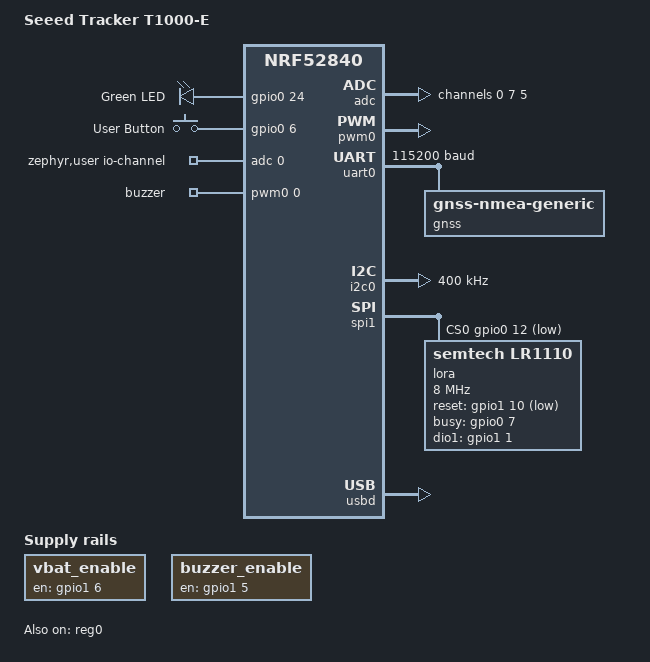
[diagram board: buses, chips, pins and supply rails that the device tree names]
/*
 * Seeed Tracker T1000-E - nRF52840 + LR1110
 * Copyright (c) 2025 ZephCore
 *
 * SPDX-License-Identifier: MIT
 *
 * Hardware:
 * - nRF52840 SoC with BLE
 * - LR1110 LoRa radio (TCXO 1.6V, DIO as RF switch)
 * - Airoha AG3335 GNSS module on UART (PAIR protocol)
 * - QMA6100P accelerometer (I2C)
 * - NTC temperature sensor (ADC)
 * - Light sensor (ADC)
 * - Buzzer with enable
 * - Battery voltage ADC
 */

/dts-v1/;
#include <nordic/nrf52840_qiaa.dtsi>
#include <nordic/nrf52840_partition.dtsi>
#include <zephyr/dt-bindings/adc/nrf-saadc.h>
#include <zephyr/dt-bindings/input/input-event-codes.h>
#include <zephyr/dt-bindings/pwm/pwm.h>
#include "t1000_e_nrf52840-pinctrl.dtsi"

/* Delete default partitions from nrf52840_partition.dtsi */
/delete-node/ &boot_partition;
/delete-node/ &slot0_partition;
/delete-node/ &slot1_partition;
/delete-node/ &storage_partition;

/ {
	model = "Seeed Tracker T1000-E";
	compatible = "seeed,t1000-e";

	chosen {
		zephyr,code-partition = &code_partition;
		zephyr,console = &cdc_acm_uart;
		zephyr,shell-uart = &cdc_acm_uart;
	};

	leds {
		compatible = "gpio-leds";

		led_green: led_0 {
			gpios = <&gpio0 24 GPIO_ACTIVE_HIGH>;
			label = "Green LED";
		};
	};

	buttons: buttons {
		compatible = "gpio-keys";

		user_button: button_0 {
			/* T1000-E button: active HIGH (pressed=VCC), no internal pull
			 * (external pull-down on board). Arduino uses INPUT, not INPUT_PULLUP. */
			gpios = <&gpio0 6 GPIO_ACTIVE_HIGH>;
			zephyr,code = <INPUT_KEY_0>;
			label = "User Button";
		};
	};

	/* Input filter: user button long-press detection (1000ms)
	 * T1000-E has only one button - long-press = enter/execute
	 * Short-press → KEY_A, Long-press → KEY_F (safe, no system side-effects) */
	user_btn_longpress {
		compatible = "zephyr,input-longpress";
		input = <&buttons>;
		input-codes = <INPUT_KEY_0>;
		short-codes = <INPUT_KEY_A>;
		long-codes = <INPUT_KEY_F>;
		long-delay-ms = <1000>;
	};

	/* Input filter: user button multi-tap detection
	 * 1 tap  (400ms wait) → KEY_1 = page next (no-op without display)
	 * 2 taps (400ms wait) → KEY_B = LED heartbeat toggle
	 * 3 taps (400ms wait) → KEY_D = buzzer mute toggle
	 * 4 taps (400ms wait) → KEY_C = GPS on/off
	 * 5 taps (immediate)  → KEY_E = flood advert */
	user_btn_multitap {
		compatible = "zephcore,input-multi-tap";
		/* No 'input' phandle — listen to ALL devices.
		 * KEY_A is emitted by the longpress pseudo-device,
		 * not by &buttons, so we must not filter by device. */
		input-codes = <INPUT_KEY_A>;
		tap-codes = <INPUT_KEY_1 INPUT_KEY_B INPUT_KEY_D INPUT_KEY_C INPUT_KEY_E>;
		tap-delay-ms = <400>;
	};

	/* Sensor power enable - P1.06 (PIN_3V3_EN in Arduino)
	 * Powers: Battery ADC voltage divider, temperature sensor, light sensor
	 * Must be enabled before reading battery voltage or sensor ADCs
	 */
	vbat_enable: sensor_power: sensor-power {
		compatible = "regulator-fixed";
		regulator-name = "sensor-power";
		enable-gpios = <&gpio1 6 GPIO_ACTIVE_HIGH>;
		/* NOT regulator-boot-on - enabled on-demand in ZephyrBoard.cpp */
	};

	/* Battery ADC channel reference for ZephyrBoard */
	zephyr,user {
		io-channels = <&adc 0>;
		vbat-mv-multiplier = <7236>;  /* 2:1 divider, 3.6V ref; +0.5% for nRF SAADC gain error */
	};

	/* Buzzer on PWM0 channel 0 (P0.25) with enable on P1.05 */
	pwmbuzzer {
		compatible = "pwm-leds";
		buzzer: buzzer {
			pwms = <&pwm0 0 PWM_MSEC(20) PWM_POLARITY_NORMAL>;
		};
	};

	/* Buzzer enable pin - controls power to buzzer amplifier */
	buzzer_enable: buzzer-enable {
		compatible = "regulator-fixed";
		regulator-name = "buzzer-enable";
		enable-gpios = <&gpio1 5 GPIO_ACTIVE_HIGH>;
		/* NOT regulator-boot-on - controlled by buzzer driver */
	};

	aliases {
		led0 = &led_green;
		sw0 = &user_button;
		watchdog0 = &wdt0;
		buzzer = &buzzer;
		buzzer-enable = &buzzer_enable;
		lora0 = &lora;
	};
};

&reg0 {
	status = "okay";
};

&reg1 {
	regulator-initial-mode = <NRF5X_REG_MODE_DCDC>;
};

&adc {
	status = "okay";
	#address-cells = <1>;
	#size-cells = <0>;

	/* Battery voltage on P0.02 (AIN0) - 2x voltage divider */
	channel@0 {
		reg = <0>;
		zephyr,gain = "ADC_GAIN_1_6";
		zephyr,reference = "ADC_REF_INTERNAL";
		zephyr,acquisition-time = <ADC_ACQ_TIME(ADC_ACQ_TIME_MICROSECONDS, 10)>;
		zephyr,input-positive = <NRF_SAADC_AIN0>;
		zephyr,resolution = <12>;
	};

	/* Temperature sensor NTC on P0.31 (AIN7) */
	channel@7 {
		reg = <7>;
		zephyr,gain = "ADC_GAIN_1_6";
		zephyr,reference = "ADC_REF_INTERNAL";
		zephyr,acquisition-time = <ADC_ACQ_TIME(ADC_ACQ_TIME_MICROSECONDS, 10)>;
		zephyr,input-positive = <NRF_SAADC_AIN7>;
		zephyr,resolution = <12>;
	};

	/* Light sensor on P0.29 (AIN5) */
	channel@5 {
		reg = <5>;
		zephyr,gain = "ADC_GAIN_1_6";
		zephyr,reference = "ADC_REF_INTERNAL";
		zephyr,acquisition-time = <ADC_ACQ_TIME(ADC_ACQ_TIME_MICROSECONDS, 10)>;
		zephyr,input-positive = <NRF_SAADC_AIN5>;
		zephyr,resolution = <12>;
	};
};

&uicr {
	nfct-pins-as-gpios;
};

&gpiote {
	status = "okay";
};

&gpio0 {
	status = "okay";
};

&gpio1 {
	status = "okay";
	/* NOTE: buzzer-off gpio-hog REMOVED - buzzer enable is now managed by
	 * the regulator-fixed node (buzzer_enable). When buzzer is quiet,
	 * the regulator is disabled keeping the pin low. */
};

/* PWM0 for buzzer */
&pwm0 {
	status = "okay";
	pinctrl-0 = <&pwm0_default>;
	pinctrl-1 = <&pwm0_sleep>;
	pinctrl-names = "default", "sleep";
};

/* Airoha AG3335 GNSS on UART0 - 115200 baud
 *
 * Using gnss-nmea-generic (passive NMEA listener) instead of quectel,lc76g:
 * - Arduino reference code just listens for NMEA, never sends PAIR commands
 * - AG3335 outputs NMEA autonomously at factory defaults
 * - Eliminates 10s+ blocking resume_script timeout on PAIR command
 * - Trade-off: no gnss_set_enabled_systems() / gnss_set_fix_rate() API
 *   (AG3335 defaults are fine: GPS+GLONASS+Galileo+BeiDou, 1Hz) */
&uart0 {
	compatible = "nordic,nrf-uarte";
	status = "okay";
	current-speed = <115200>;
	pinctrl-0 = <&uart0_default>;
	pinctrl-1 = <&uart0_sleep>;
	pinctrl-names = "default", "sleep";

	gnss: gnss {
		compatible = "gnss-nmea-generic";
		/* Defer driver init — AG3335 needs GPIO power-up
		 * (GPS_EN, GPS_VRTC_EN, GPS_RESET) before NMEA output.
		 * ZephyrGPSManager handles power-up then calls device_init(). */
		zephyr,deferred-init;
	};
};

/* I2C0 for QMA6100P accelerometer + external sensors */
&i2c0 {
	compatible = "nordic,nrf-twim";
	status = "okay";
	clock-frequency = <I2C_BITRATE_FAST>;
	pinctrl-0 = <&i2c0_default>;
	pinctrl-1 = <&i2c0_sleep>;
	pinctrl-names = "default", "sleep";

	/* All supported environment & power sensors — auto-detected at runtime */
	#include "../../common/sensors-i2c.dtsi"
};

/* SPI1 for LR1110 */
&spi1 {
	compatible = "nordic,nrf-spim";
	status = "okay";
	cs-gpios = <&gpio0 12 GPIO_ACTIVE_LOW>;
	pinctrl-0 = <&spi1_default>;
	pinctrl-1 = <&spi1_sleep>;
	pinctrl-names = "default", "sleep";

	lora: lora@0 {
		compatible = "semtech,lr1110";
		reg = <0>;
		reset-gpios = <&gpio1 10 GPIO_ACTIVE_LOW>;
		busy-gpios = <&gpio0 7 GPIO_ACTIVE_HIGH>;
		dio1-gpios = <&gpio1 1 (GPIO_PULL_DOWN | GPIO_ACTIVE_HIGH)>;
		tcxo-voltage-mv = <1600>;
		tcxo-startup-delay-ms = <5>;
		rx-boosted;
		spi-max-frequency = <8000000>;
		/* RF switch: DIO5=RFSW0, DIO6=RFSW1, DIO7=RFSW2, DIO8=RFSW3 */
		rfswitch-enable = <0x0F>;
		rfswitch-standby = <0x00>;
		rfswitch-rx = <0x09>;
		rfswitch-tx = <0x0B>;
		rfswitch-tx-hp = <0x0A>;
		rfswitch-gnss = <0x04>;
	};
};

zephyr_udc0: &usbd {
	compatible = "nordic,nrf-usbd";
	status = "okay";

	cdc_acm_uart: cdc_acm_uart {
		compatible = "zephyr,cdc-acm-uart";
	};
};

/* Arduino MeshCore compatible partition layout (SoftDevice v7) */
#include "../../common/nrf52_partitions_sdv7.dtsi"
#include "../../common/nrf52_wakeup.dtsi"
